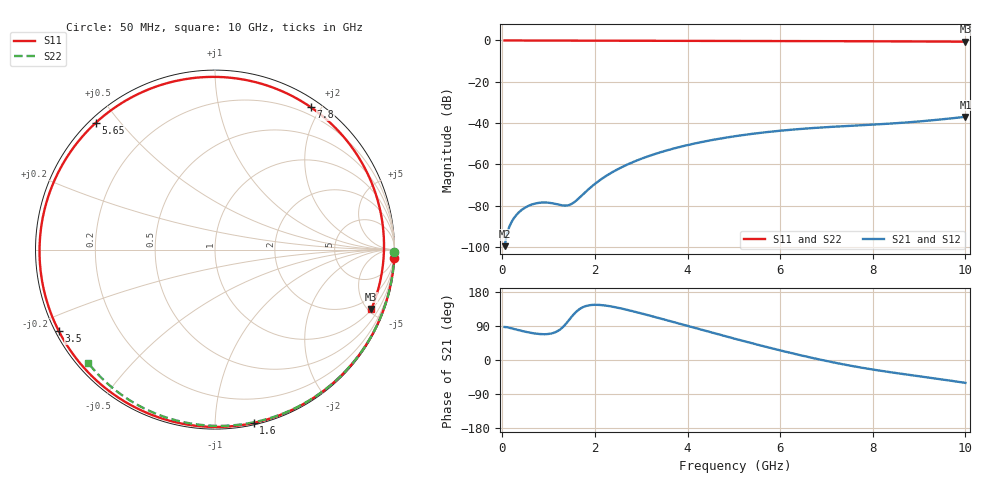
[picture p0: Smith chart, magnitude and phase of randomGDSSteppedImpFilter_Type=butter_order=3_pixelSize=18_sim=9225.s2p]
! freq	dB(S11)	phase(S11)	dB(S12)	phase(S12)
!  dB(S21)	phase(S21)	dB(S22)	phase(S22)
!S-par simulation data
#  GHz  S  DB  R 50
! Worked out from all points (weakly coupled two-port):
!   200 points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, 50 MHz to 10 GHz, reference 50 ohm
!   highest |S21| = -37.02 dB at 10 GHz (marker M1); lowest = -99.7 dB at 50 MHz (marker M2)
!   lowest |S11| = -0.6 dB at 10 GHz (marker M3), VSWR 28.42, Z = 52 - j262 ohm
!   |S11| at or under -10 dB: nowhere
!   |S22| runs from -0.5 to 0.0 dB; largest |S21 - S12| = 0
!   S11 on the Smith chart (normalised r, x): 50 MHz: 0, -45; 1.6 GHz: 0.01, -1.25; 3.5 GHz: 0.01, -0.25; 5.65 GHz: 0.02, +0.43; 7.8 GHz: 0.10, +1.87; 10 GHz: 1.04, -5.25
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0.05  -0.00 -2.6  -99.70 87.1  -99.70 87.1  -0.00 -0.8
0.45  -0.03 -22.8  -81.63 75.9  -81.63 75.9  -0.01 -7.2
0.9  -0.06 -44.9  -78.53 68.1  -78.53 68.1  -0.02 -14.3
1.4  -0.08 -68.5  -79.98 99.2  -79.98 99.2  -0.03 -22.1
1.6  -0.09 -77.5  -77.55 127.7  -77.55 127.7  -0.03 -25.2
1.75  -0.10 -84.1  -74.43 139.9  -74.43 139.9  -0.04 -27.6
2.1  -0.11 -98.9  -67.82 145.3  -67.82 145.3  -0.04 -33.0
2.45  -0.13 -113.1  -62.92 139.0  -62.92 139.0  -0.05 -38.3
2.95  -0.14 -132.4  -57.78 124.6  -57.78 124.6  -0.06 -45.8
3.4  -0.16 -148.9  -54.30 110.0  -54.30 110.0  -0.07 -52.4
3.5  -0.16 -152.4  -53.63 106.7  -53.63 106.7  -0.07 -53.9
4.25  -0.19 -178.6  -49.48 81.6  -49.48 81.6  -0.09 -64.7
5.05  -0.23 154.0  -46.33 55.2  -46.33 55.2  -0.12 -75.8
5.65  -0.27 133.3  -44.58 36.1  -44.58 36.1  -0.14 -83.9
6.2  -0.30 114.1  -43.34 19.5  -43.34 19.5  -0.16 -91.2
6.7  -0.32 96.2  -42.46 5.3  -42.46 5.3  -0.19 -97.7
7.25  -0.36 76.2  -41.70 -8.8  -41.70 -8.8  -0.22 -104.6
7.8  -0.39 56.1  -41.04 -21.1  -41.04 -21.1  -0.26 -111.5
8.35  -0.43 36.0  -40.33 -31.7  -40.33 -31.7  -0.30 -118.3
8.75  -0.46 21.6  -39.71 -38.7  -39.71 -38.7  -0.34 -123.1
9.15  -0.50 7.5  -38.96 -45.4  -38.96 -45.4  -0.38 -128.0
10  -0.61 -20.8  -37.02 -60.4  -37.02 -60.4  -0.47 -138.2
